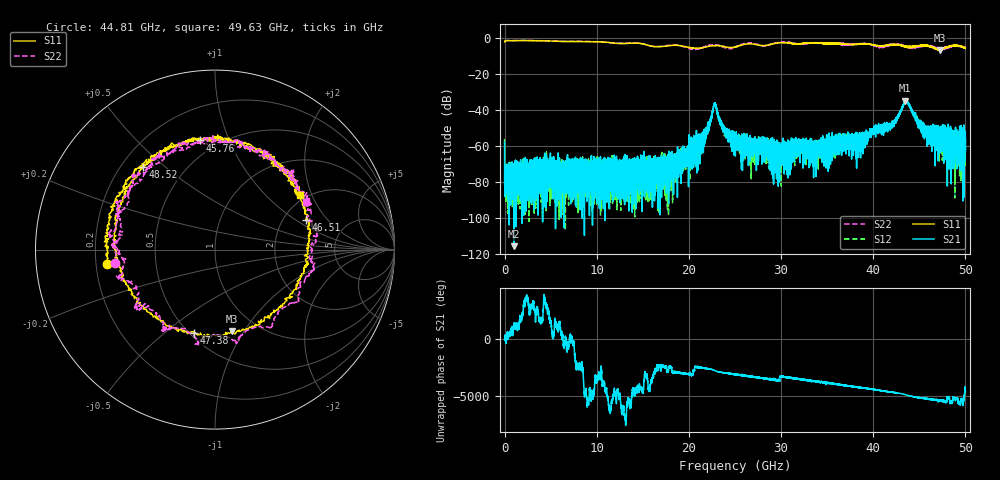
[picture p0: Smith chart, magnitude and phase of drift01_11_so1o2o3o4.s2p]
!Created with skrf (http://scikit-rf.org).
# Hz S RI R 50.0
!freq ReS11 ImS11 ReS21 ImS21 ReS12 ImS12 ReS22 ImS22
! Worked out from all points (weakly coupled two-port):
!   10001 points, 300 kHz to 50 GHz, reference 50 ohm
!   highest |S21| = -34.73 dB at 43.49 GHz (marker M1); lowest = -115.7 dB at 1.01 GHz (marker M2)
!   lowest |S11| = -6.7 dB at 47.2 GHz (marker M3), VSWR 2.73, Z = 38.1 - j44.1 ohm
!   |S11| at or under -10 dB: nowhere
!   |S22| runs from -6.6 to -1.4 dB; largest |S21 - S12| = 0.0045
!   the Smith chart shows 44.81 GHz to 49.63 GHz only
!   S11 on the Smith chart (normalised r, x): 44.81 GHz: 0.25, -0.06; 45.76 GHz: 0.40, +0.79; 46.51 GHz: 2.63, +1.23; 47.38 GHz: 0.53, -0.63; 48.52 GHz: 0.29, +0.42; 49.63 GHz: 1.83, +1.64
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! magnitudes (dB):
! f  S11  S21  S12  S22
! 300 kHz  -2.1  -57.8  -56.1  -2.1
! 255.3 MHz  -1.4  -78.9  -72.3  -1.4
! 1.01 GHz  -1.5  -115.7  -77.2  -1.4
! 8.335 GHz  -2.0  -70.2  -77.5  -1.8
! 16.67 GHz  -4.9  -77.2  -96.7  -4.8
! 21.08 GHz  -5.6  -55.5  -58.0  -6.0
! 22.8 GHz  -4.3  -36.4  -36.2  -4.0
! 23.8 GHz  -4.7  -50.3  -51.3  -5.0
! 25 GHz  -5.0  -56.0  -55.2  -5.1
! 29.86 GHz  -2.7  -61.7  -62.7  -2.4
! 32.08 GHz  -3.2  -60.9  -59.1  -3.3
! 33.34 GHz  -2.6  -64.6  -60.6  -2.7
! 41.67 GHz  -3.9  -48.9  -49.1  -4.3
! 43.49 GHz  -4.8  -34.7  -35.4  -4.9
! 44.81 GHz  -4.4  -46.0  -46.0  -5.0
! 45.76 GHz  -4.2  -52.8  -50.5  -4.1
! 46.51 GHz  -5.5  -48.9  -53.2  -5.0
! 47.2 GHz  -6.7  -57.7  -51.1  -6.1
! 47.38 GHz  -6.4  -52.8  -57.0  -5.7
! 48.52 GHz  -4.3  -56.3  -56.2  -4.7
! 49.63 GHz  -5.0  -56.2  -59.7  -4.9
! 50 GHz  -5.6  -60.9  -63.9  -5.3
